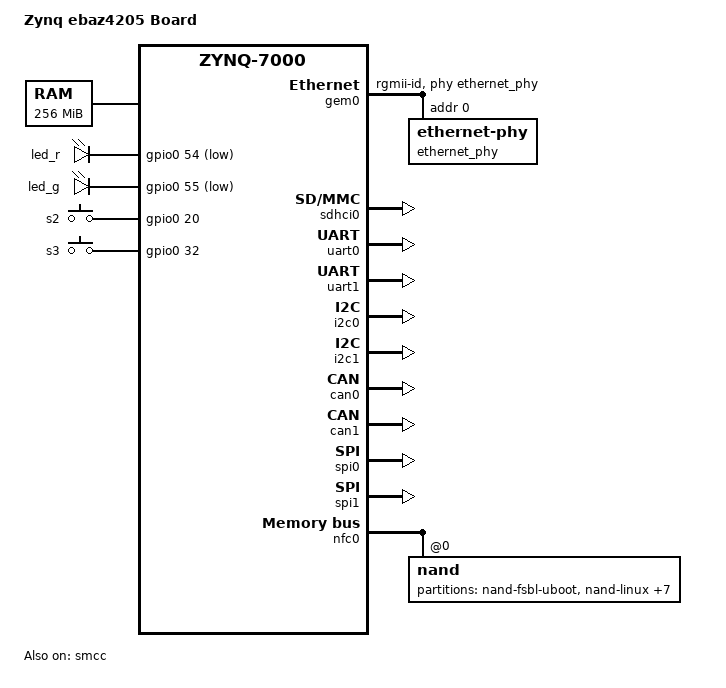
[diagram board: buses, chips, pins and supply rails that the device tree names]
// SPDX-License-Identifier: GPL-2.0
/*
 *  Copyright (C) 2015 Andrea Merello <adnrea.merello@gmail.com>
 *  Copyright (C) 2017 Alexander Graf <agraf@suse.de>
 *
 *  Based on zynq-zed.dts which is:
 *  Copyright (C) 2011 - 2014 Xilinx
 *  Copyright (C) 2012 National Instruments Corp.
 *
 */

/dts-v1/;
/include/ "zynq-7000.dtsi"

/ {
	model = "Zynq ebaz4205 Board";
	compatible = "unknown,zynq-ebaz4205", "xlnx,zynq-7000";

	aliases {
		ethernet0 = &gem0;
		serial0 = &uart1;
		serial1 = &uart0;
		// serial2 = &uart2;
		mmc0 = &sdhci0;
	};

	memory@0 {
		device_type = "memory";
		reg = <0x0 0x10000000>;
	};

	chosen {
		bootargs = "";
		stdout-path = "serial0:115200n8";
	};

	gpio-leds {
		compatible = "gpio-leds";
		
		led_r {
			label = "led_r";
			gpios = <&gpio0 54 1>;
			linux,default-trigger = "heartbeat";
		};

		led_g {
			label = "led_g";
			gpios = <&gpio0 55 1>;
			linux,default-trigger = "mmc0";
		};
	};

	gpio-keys {
		compatible = "gpio-keys";
		autorepeat;

		s2 {
			label = "s2";
			gpios = <&gpio0 20 0>;
			linux,code = <102>;
			wakeup-source;
			autorepeat;
		};

		s3 {
			label = "s3";
			gpios = <&gpio0 32 0>;
			linux,code = <116>;
			wakeup-source;
			autorepeat;
		};
	};
	/*
	// This is used by the default EBAZ firmware, but I don't want
	// to use Xilinx secret sauce or implement poorly documented
	// crap myself.
	uart2: serial@42c00000 {
		compatible = "xlnx,xps-uartlite-1.00.a";
		reg = <0x42C00000 0x10000>;
		interrupts = <0 29 1>;
		port-number = <2>;
		current-speed = <115200>;
		use-parity = <0>;
		data-bits = <8>;
	};
	*/
};

&clkc {
	ps-clk-frequency = <33333333>;
};

&gem0 {
	status = "okay";
	phy-mode = "rgmii-id";
	phy-handle = <&ethernet_phy>;

	ethernet_phy: ethernet-phy@0 {
		reg = <0x0>;
		device_type = "ethernet-phy";
	};
};

&sdhci0 {
	status = "okay";
};

&uart0 {
	status = "okay";
};

&uart1 {
	status = "okay";
};

// Could enable w/ overlay, but I'm going to enable now to test
&i2c0 {
	status = "okay";
};

&i2c1 {
	status = "okay";
};

&can0 {
	status = "okay";
};

&can1 {
	status = "okay";
};

/* I have no idea how to get SPI to work in Linux */
/* Enabling this makes the spi_master devices work, but how to use? */
/* In other words, how do I use this with spidev? */
/* Probably best to just disable this. */
&spi0 {
	status = "okay";
	compatible = "xlnx,zynq-spi-r1p6", "spidev";
};

&spi1 {
	status = "okay";
	compatible = "xlnx,zynq-spi-r1p6", "spidev";
};

// Probably renamed in newer kernels, just like nand0, but whatever.
&smcc {
	status = "okay";
};

// nand0 on older kernels; nfc0 on newer kernels (2022.2 at least)
&nfc0 {
/*
  // in ebaz default flash, but apparently not used
  arm,nand-cycle-t0 = <5>;
  arm,nand-cycle-t1 = <5>;
  arm,nand-cycle-t2 = <2>;
  arm,nand-cycle-t3 = <2>;
  arm,nand-cycle-t4 = <2>;
  arm,nand-cycle-t5 = <1>;
  arm,nand-cycle-t6 = <2>;
*/
  status = "okay";
  nand@0 {
    reg = <0>;
    #address-cells = <1>;
    #size-cells = <1>;
    // this is the default partition map
    partition@nand-fsbl-uboot  { reg = <0          0x300000>; label = "nand-fsbl-uboot"; };
    partition@nand-linux       { reg = <0x300000   0x500000>; label = "nand-linux"; };
    partition@nand-device-tree { reg = <0x800000    0x20000>; label = "nand-device-tree"; };
    partition@nand-rootfs      { reg = <0x820000   0xA00000>; label = "nand-rootfs"; };
    partition@nand-jffs2       { reg = <0x1220000 0x1000000>; label = "nand-jffs2"; };
    partition@nand-bitstream   { reg = <0x2220000  0x800000>; label = "nand-bitstream"; };
    partition@nand-allrootfs   { reg = <0x2A20000 0x4000000>; label = "nand-allrootfs"; };
    partition@nand-release     { reg = <0x6A20000 0x13E0000>; label = "nand-release"; };
    partition@nand-reserve     { reg = <0x7E00000  0x200000>; label = "nand-reserve"; };
    /*
    partition@0         { reg = <0          0x300000>; label = "nand-fsbl-uboot"; };
    partition@0x300000  { reg = <0x300000   0x500000>; label = "nand-linux"; };
    partition@0x800000  { reg = <0x800000    0x20000>; label = "nand-device-tree"; };
    partition@0x820000  { reg = <0x820000   0xA00000>; label = "nand-rootfs"; };
    partition@0x1220000 { reg = <0x1220000 0x1000000>; label = "nand-jffs2"; };
    partition@0x2220000 { reg = <0x2220000  0x800000>; label = "nand-bitstream"; };
    partition@0x2A20000 { reg = <0x2A20000 0x4000000>; label = "nand-allrootfs"; };
    partition@0x6A20000 { reg = <0x6A20000 0x13E0000>; label = "nand-release"; };
    partition@0x7E00000 { reg = <0x7E00000  0x200000>; label = "nand-reserve"; };
    */
  };
};
